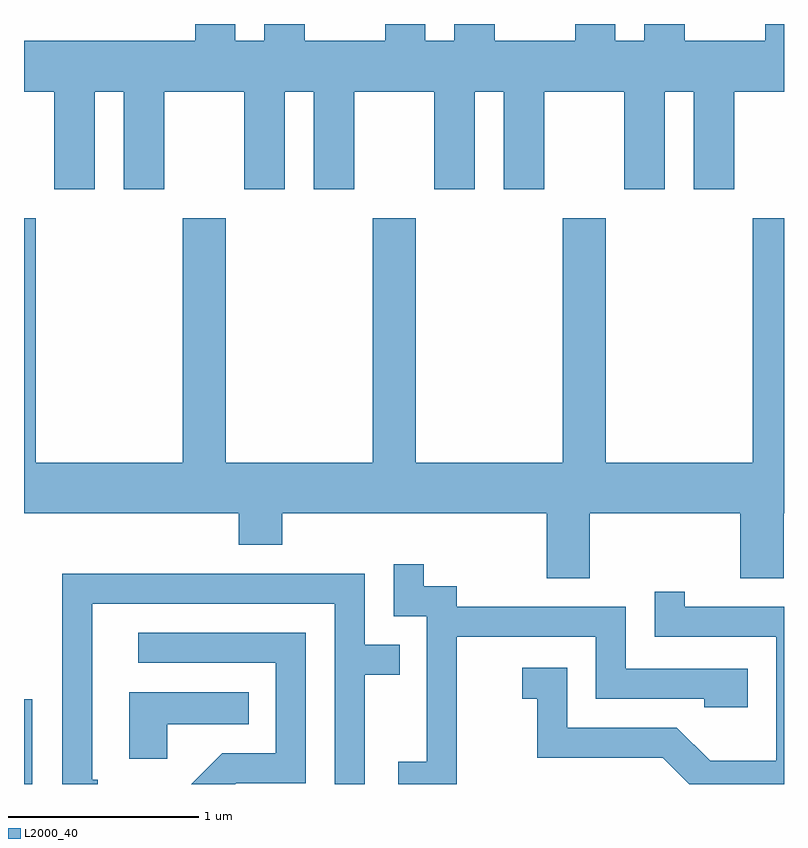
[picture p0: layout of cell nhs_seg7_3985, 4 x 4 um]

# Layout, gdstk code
import gdstk
lib = gdstk.Library(unit=1e-6, precision=1e-09)
def R(c, l, rs):  # rectangles x0, y0, x1, y1
    for r in rs: c.add(gdstk.rectangle(r[:2], r[2:], *l))
def P(c, l, *ps):  # polygons
    for p in ps: c.add(gdstk.Polygon(p, *l))
L2000_40 = (2000, 40)

nhs_seg7_3985 = lib.new_cell('nhs_seg7_3985')
R(nhs_seg7_3985, L2000_40, [(307.611,1686.252,307.654,1686.698)])
P(nhs_seg7_3985, L2000_40, [(309.771,1689.381),(309.984,1689.381),(309.984,1689.896),(310.136,1689.896),(310.136,1689.381),(310.349,1689.381),(310.349,1689.896),(310.771,1689.896),(310.771,1689.381),(310.984,1689.381),(310.984,1689.896),(311.136,1689.896),(311.136,1689.381),(311.349,1689.381),(311.349,1689.896),(311.611,1689.896),(311.611,1690.252),(311.511,1690.252),(311.511,1690.164),(311.089,1690.164),(311.089,1690.252),(310.876,1690.252),(310.876,1690.164),(310.724,1690.164),(310.724,1690.252),(310.511,1690.252),(310.511,1690.164),(310.089,1690.164),(310.089,1690.252),(309.876,1690.252),(309.876,1690.164),(309.724,1690.164),(309.724,1690.252),(309.511,1690.252),(309.511,1690.164),(309.089,1690.164),(309.089,1690.252),(308.876,1690.252),(308.876,1690.164),(308.724,1690.164),(308.724,1690.252),(308.511,1690.252),(308.511,1690.164),(307.611,1690.164),(307.611,1689.896),(307.771,1689.896),(307.771,1689.381),(307.984,1689.381),(307.984,1689.896),(308.136,1689.896),(308.136,1689.381),(308.349,1689.381),(308.349,1689.896),(308.771,1689.896),(308.771,1689.381),(308.984,1689.381),(308.984,1689.896),(309.136,1689.896),(309.136,1689.381),(309.349,1689.381),(309.349,1689.896),(309.771,1689.896)],
  [(310.589,1687.676),(311.381,1687.676),(311.381,1687.336),(311.609,1687.336),(311.609,1687.676),(311.611,1687.676),(311.611,1689.229),(311.446,1689.229),(311.446,1687.944),(310.674,1687.944),(310.674,1689.229),(310.446,1689.229),(310.446,1687.944),(309.674,1687.944),(309.674,1689.229),(309.446,1689.229),(309.446,1687.944),(308.674,1687.944),(308.674,1689.229),(308.446,1689.229),(308.446,1687.944),(307.674,1687.944),(307.674,1689.229),(307.611,1689.229),(307.611,1687.676),(308.741,1687.676),(308.741,1687.511),(308.969,1687.511),(308.969,1687.676),(310.361,1687.676),(310.361,1687.336),(310.589,1687.336)],
  [(309.889,1687.026),(310.621,1687.026),(310.621,1686.701),(311.191,1686.701),(311.191,1686.656),(311.419,1686.656),(311.419,1686.859),(310.779,1686.859),(310.779,1687.184),(309.889,1687.184),(309.889,1687.294),(309.714,1687.294),(309.714,1687.408),(309.556,1687.408),(309.556,1687.136),(309.731,1687.136),(309.731,1686.369),(309.581,1686.369),(309.581,1686.252),(309.889,1686.252)],
  [(307.999,1686.274),(307.969,1686.274),(307.969,1687.201),(309.246,1687.201),(309.246,1686.252),(309.404,1686.252),(309.404,1686.826),(309.588,1686.826),(309.588,1686.984),(309.404,1686.984),(309.404,1687.359),(307.811,1687.359),(307.811,1686.252),(307.999,1686.252)],
  [(311.611,1687.184),(311.089,1687.184),(311.089,1687.263),(310.931,1687.263),(310.931,1687.026),(311.571,1687.026),(311.571,1686.374),(311.222,1686.374),(311.047,1686.549),(310.469,1686.549),(310.469,1686.864),(310.233,1686.864),(310.233,1686.701),(310.311,1686.701),(310.311,1686.391),(310.974,1686.391),(311.113,1686.252),(311.611,1686.252)],
  [(308.727,1686.256),(309.094,1686.256),(309.094,1687.049),(308.213,1687.049),(308.213,1686.891),(308.936,1686.891),(308.936,1686.414),(308.654,1686.414),(308.492,1686.252),(308.723,1686.252)],
  [(308.364,1686.566),(308.793,1686.566),(308.793,1686.734),(308.166,1686.734),(308.166,1686.386),(308.364,1686.386)])

lib.write_gds('nhs_seg7_3985.gds')
